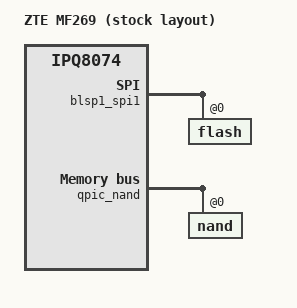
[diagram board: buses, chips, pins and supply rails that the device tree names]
// SPDX-License-Identifier: GPL-2.0-or-later OR MIT

/dts-v1/;
#include "ipq8071-mf269.dts"

/ {
	model = "ZTE MF269 (stock layout)";
	compatible = "zte,mf269-stock", "qcom,ipq8074";

	aliases {
		/delete-property/ label-mac-device;
	};

	chosen {
		bootargs-append = " root=/dev/ubiblock0_1";
	};
};

&blsp1_spi1 {
	flash@0 {
		/delete-node/ partitions;
	};
};

&qpic_nand {
	/delete-node/ partitions;

	nand@0 {
		/delete-node/ partitions;

		partitions {
			compatible = "qcom,smem-part";
		};
	};
};

&dp5_syn {
	/delete-property/ nvmem-cell-names;
	/delete-property/ nvmem-cells;
};

&dp6_syn {
	/delete-property/ nvmem-cell-names;
	/delete-property/ nvmem-cells;
};
